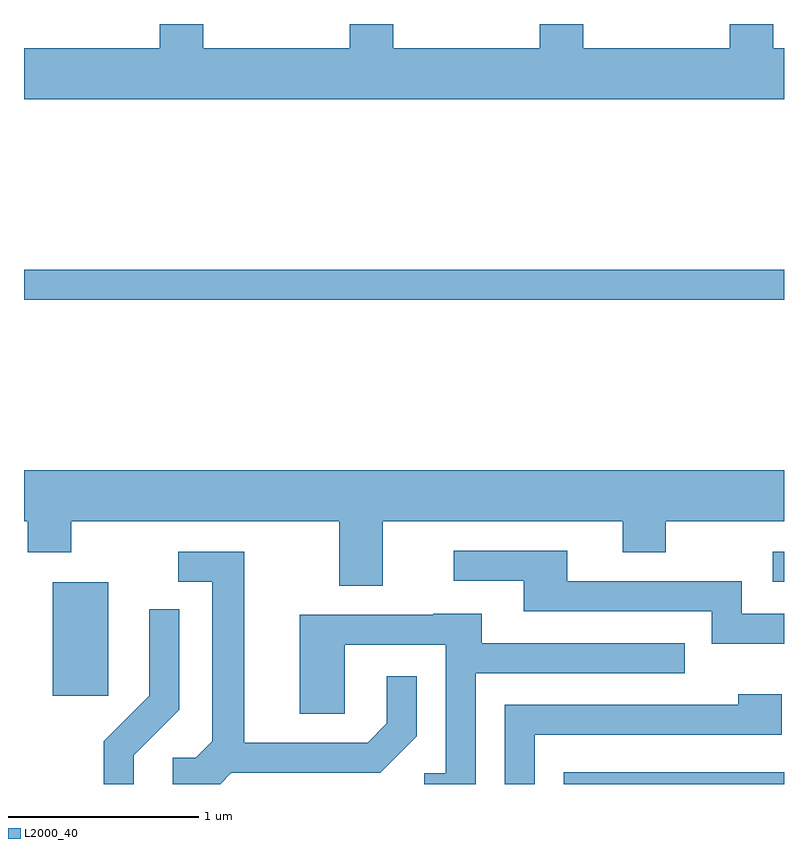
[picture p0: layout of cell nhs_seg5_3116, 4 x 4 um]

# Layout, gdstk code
import gdstk
lib = gdstk.Library(unit=1e-6, precision=1e-09)
def R(c, l, rs):  # rectangles x0, y0, x1, y1
    for r in rs: c.add(gdstk.rectangle(r[:2], r[2:], *l))
def P(c, l, *ps):  # polygons
    for p in ps: c.add(gdstk.Polygon(p, *l))
L2000_40 = (2000, 40)

nhs_seg5_3116 = lib.new_cell('nhs_seg5_3116')
R(nhs_seg5_3116, L2000_40, [(280.451,1462.072,281.611,1462.134), (277.761,1462.536,278.054,1463.134), (281.553,1463.136,281.611,1463.294), (277.611,1464.621,281.611,1464.779)])
P(nhs_seg5_3116, L2000_40, [(281.611,1465.944),(281.554,1465.944),(281.554,1466.072),(281.326,1466.072),(281.326,1465.944),(280.554,1465.944),(280.554,1466.072),(280.326,1466.072),(280.326,1465.944),(279.554,1465.944),(279.554,1466.072),(279.326,1466.072),(279.326,1465.944),(278.554,1465.944),(278.554,1466.072),(278.326,1466.072),(278.326,1465.944),(277.611,1465.944),(277.611,1465.676),(281.611,1465.676)],
  [(279.499,1463.456),(280.761,1463.456),(280.761,1463.291),(280.989,1463.291),(280.989,1463.456),(281.611,1463.456),(281.611,1463.724),(277.611,1463.724),(277.611,1463.456),(277.631,1463.456),(277.631,1463.291),(277.859,1463.291),(277.859,1463.456),(279.271,1463.456),(279.271,1463.116),(279.499,1463.116)],
  [(281.611,1462.969),(281.389,1462.969),(281.389,1463.139),(280.469,1463.139),(280.469,1463.299),(279.873,1463.299),(279.873,1463.141),(280.241,1463.141),(280.241,1462.981),(281.231,1462.981),(281.231,1462.811),(281.611,1462.811)],
  [(278.702,1462.131),(279.487,1462.131),(279.679,1462.324),(279.679,1462.638),(279.521,1462.638),(279.521,1462.392),(279.419,1462.289),(278.769,1462.289),(278.769,1463.294),(278.423,1463.294),(278.423,1463.136),(278.601,1463.136),(278.601,1462.297),(278.514,1462.209),(278.393,1462.209),(278.393,1462.072),(278.643,1462.072)],
  [(278.189,1462.224),(278.429,1462.464),(278.429,1462.993),(278.271,1462.993),(278.271,1462.537),(278.031,1462.297),(278.031,1462.072),(278.189,1462.072)],
  [(279.989,1462.656),(281.088,1462.656),(281.088,1462.814),(280.019,1462.814),(280.019,1462.969),(279.765,1462.969),(279.765,1462.964),(279.061,1462.964),(279.061,1462.441),(279.299,1462.441),(279.299,1462.806),(279.831,1462.806),(279.831,1462.129),(279.718,1462.129),(279.718,1462.072),(279.989,1462.072)],
  [(280.299,1462.331),(281.599,1462.331),(281.599,1462.544),(281.371,1462.544),(281.371,1462.489),(280.141,1462.489),(280.141,1462.072),(280.299,1462.072)])

lib.write_gds('nhs_seg5_3116.gds')
